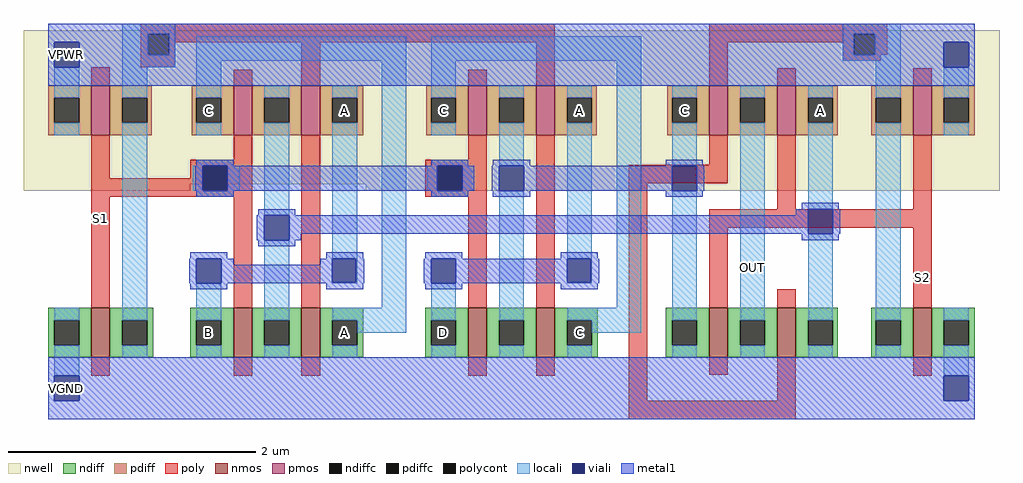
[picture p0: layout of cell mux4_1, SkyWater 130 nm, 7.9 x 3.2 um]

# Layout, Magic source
magic
tech sky130A
<< nwell >>
rect -15 190 775 315
rect -15 185 120 190
rect 262 185 775 190
<< nmos >>
rect 40 50 55 90
rect 155 50 170 90
rect 210 50 225 90
rect 345 50 360 90
rect 400 50 415 90
rect 540 50 555 90
rect 595 50 610 90
rect 705 50 720 90
<< pmos >>
rect 40 230 55 270
rect 155 230 170 270
rect 210 230 225 270
rect 345 230 360 270
rect 400 230 415 270
rect 540 230 555 270
rect 595 230 610 270
rect 705 230 720 270
<< ndiff >>
rect 5 80 40 90
rect 5 60 10 80
rect 30 60 40 80
rect 5 50 40 60
rect 55 80 90 90
rect 55 60 65 80
rect 85 60 90 80
rect 55 50 90 60
rect 120 80 155 90
rect 120 60 125 80
rect 145 60 155 80
rect 120 50 155 60
rect 170 80 210 90
rect 170 60 180 80
rect 200 60 210 80
rect 170 50 210 60
rect 225 80 260 90
rect 225 60 235 80
rect 255 60 260 80
rect 225 50 260 60
rect 310 80 345 90
rect 310 60 315 80
rect 335 60 345 80
rect 310 50 345 60
rect 360 80 400 90
rect 360 60 370 80
rect 390 60 400 80
rect 360 50 400 60
rect 415 80 450 90
rect 415 60 425 80
rect 445 60 450 80
rect 415 50 450 60
rect 505 80 540 90
rect 505 60 510 80
rect 530 60 540 80
rect 505 50 540 60
rect 555 80 595 90
rect 555 60 565 80
rect 585 60 595 80
rect 555 50 595 60
rect 610 80 644 90
rect 610 60 620 80
rect 640 60 644 80
rect 610 50 644 60
rect 671 80 705 90
rect 671 60 675 80
rect 695 60 705 80
rect 671 50 705 60
rect 720 80 755 90
rect 720 60 730 80
rect 750 60 755 80
rect 720 50 755 60
<< pdiff >>
rect 5 260 40 270
rect 5 240 10 260
rect 30 240 40 260
rect 5 230 40 240
rect 55 260 89 270
rect 55 240 65 260
rect 85 240 89 260
rect 55 230 89 240
rect 121 260 155 270
rect 121 240 125 260
rect 145 240 155 260
rect 121 230 155 240
rect 170 260 210 270
rect 170 240 180 260
rect 200 240 210 260
rect 170 230 210 240
rect 225 260 260 270
rect 225 240 235 260
rect 255 240 260 260
rect 225 230 260 240
rect 311 260 345 270
rect 311 240 315 260
rect 335 240 345 260
rect 311 230 345 240
rect 360 260 400 270
rect 360 240 370 260
rect 390 240 400 260
rect 360 230 400 240
rect 415 260 449 270
rect 415 240 425 260
rect 445 240 449 260
rect 415 230 449 240
rect 506 260 540 270
rect 506 240 510 260
rect 530 240 540 260
rect 506 230 540 240
rect 555 260 595 270
rect 555 240 565 260
rect 585 240 595 260
rect 555 230 595 240
rect 610 260 644 270
rect 610 240 620 260
rect 640 240 644 260
rect 610 230 644 240
rect 671 260 705 270
rect 671 240 675 260
rect 695 240 705 260
rect 671 230 705 240
rect 720 260 755 270
rect 720 240 730 260
rect 750 240 755 260
rect 720 230 755 240
<< ndiffc >>
rect 10 60 30 80
rect 65 60 85 80
rect 125 60 145 80
rect 180 60 200 80
rect 235 60 255 80
rect 315 60 335 80
rect 370 60 390 80
rect 425 60 445 80
rect 510 60 530 80
rect 565 60 585 80
rect 620 60 640 80
rect 675 60 695 80
rect 730 60 750 80
<< pdiffc >>
rect 10 240 30 260
rect 65 240 85 260
rect 125 240 145 260
rect 180 240 200 260
rect 235 240 255 260
rect 315 240 335 260
rect 370 240 390 260
rect 425 240 445 260
rect 510 240 530 260
rect 565 240 585 260
rect 620 240 640 260
rect 675 240 695 260
rect 730 240 750 260
<< poly >>
rect 80 312 415 320
rect 80 295 86 312
rect 103 305 415 312
rect 103 295 108 305
rect 80 285 108 295
rect 40 270 55 285
rect 155 270 170 283
rect 210 270 225 305
rect 345 270 360 283
rect 400 270 415 305
rect 540 312 684 320
rect 540 305 657 312
rect 540 270 555 305
rect 648 295 657 305
rect 674 295 684 312
rect 648 290 679 295
rect 595 270 610 284
rect 705 270 720 284
rect 40 195 55 230
rect 155 210 170 230
rect 120 205 170 210
rect 120 195 130 205
rect 40 185 130 195
rect 150 185 170 205
rect 40 180 170 185
rect 40 90 55 180
rect 155 90 170 180
rect 210 90 225 230
rect 345 210 360 230
rect 310 205 360 210
rect 310 185 320 205
rect 340 185 360 205
rect 310 180 360 185
rect 345 90 360 180
rect 400 90 415 230
rect 540 206 555 230
rect 475 191 555 206
rect 40 35 55 50
rect 155 35 170 50
rect 210 35 225 50
rect 345 35 360 50
rect 400 35 415 50
rect 475 15 490 191
rect 595 170 610 230
rect 705 170 720 230
rect 540 155 720 170
rect 540 90 555 155
rect 595 90 610 105
rect 705 90 720 155
rect 540 36 555 50
rect 595 15 610 50
rect 705 35 720 50
rect 475 0 610 15
<< polycont >>
rect 86 295 103 312
rect 657 295 674 312
rect 130 185 150 205
rect 320 185 340 205
<< locali >>
rect 65 312 108 320
rect 10 260 30 285
rect 10 230 30 240
rect 65 295 86 312
rect 103 295 108 312
rect 648 312 695 320
rect 65 285 108 295
rect 125 290 295 310
rect 65 260 85 285
rect 10 80 30 90
rect 10 35 30 60
rect 65 80 85 240
rect 125 260 145 290
rect 125 230 145 240
rect 180 260 200 270
rect 125 205 155 210
rect 122 185 130 205
rect 150 185 160 205
rect 125 180 155 185
rect 180 165 200 240
rect 65 50 85 60
rect 125 80 145 110
rect 125 50 145 60
rect 180 80 200 145
rect 235 260 255 270
rect 235 130 255 240
rect 254 111 255 130
rect 235 110 255 111
rect 275 90 295 290
rect 315 290 485 310
rect 648 295 657 312
rect 674 295 695 312
rect 648 290 695 295
rect 315 260 335 290
rect 315 230 335 240
rect 370 260 390 270
rect 315 205 345 210
rect 370 205 390 240
rect 312 185 320 205
rect 340 185 350 205
rect 315 180 345 185
rect 180 50 200 60
rect 235 80 295 90
rect 255 70 295 80
rect 315 80 335 110
rect 235 50 255 60
rect 315 50 335 60
rect 370 80 390 185
rect 425 260 445 270
rect 425 130 445 240
rect 444 111 445 130
rect 425 110 445 111
rect 465 90 485 290
rect 370 50 390 60
rect 425 80 485 90
rect 445 70 485 80
rect 510 260 530 270
rect 510 205 530 240
rect 510 80 530 185
rect 425 50 445 60
rect 510 50 530 60
rect 565 260 585 270
rect 565 80 585 240
rect 565 50 585 60
rect 620 260 640 270
rect 620 170 640 240
rect 620 80 640 150
rect 620 50 640 60
rect 675 260 695 290
rect 675 80 695 240
rect 730 260 750 285
rect 730 230 750 240
rect 675 50 695 60
rect 730 80 750 90
rect 730 35 750 60
<< viali >>
rect 10 285 30 305
rect 130 185 150 205
rect 180 145 200 165
rect 125 110 145 130
rect 235 111 254 130
rect 320 185 340 205
rect 370 185 390 205
rect 315 110 335 130
rect 425 111 444 130
rect 510 185 530 205
rect 620 150 640 170
rect 730 285 750 305
rect 10 15 30 35
rect 730 15 750 35
<< metal1 >>
rect 5 305 755 320
rect 5 285 10 305
rect 30 285 730 305
rect 750 285 755 305
rect 5 270 755 285
rect 125 205 155 210
rect 315 205 345 210
rect 365 205 395 210
rect 505 205 535 210
rect 124 185 130 205
rect 150 185 320 205
rect 340 185 350 205
rect 364 185 370 205
rect 390 185 510 205
rect 530 185 536 205
rect 125 180 155 185
rect 315 180 345 185
rect 365 180 395 185
rect 505 180 535 185
rect 615 170 645 175
rect 175 165 205 170
rect 610 165 620 170
rect 174 145 180 165
rect 200 150 620 165
rect 640 150 646 170
rect 200 145 210 150
rect 615 145 645 150
rect 175 140 205 145
rect 120 130 150 135
rect 230 130 260 135
rect 310 130 340 135
rect 420 130 450 135
rect 119 110 125 130
rect 145 125 155 130
rect 225 125 235 130
rect 145 111 235 125
rect 254 111 261 130
rect 145 110 261 111
rect 309 110 315 130
rect 335 111 425 130
rect 444 111 451 130
rect 335 110 451 111
rect 120 105 150 110
rect 230 105 260 110
rect 310 105 340 110
rect 420 105 450 110
rect 5 35 755 50
rect 5 15 10 35
rect 30 15 730 35
rect 750 15 755 35
rect 5 0 755 15
<< labels >>
rlabel poly 40 145 55 180 1 S1
rlabel pdiffc 125 240 145 260 1 C
rlabel pdiffc 235 240 255 260 1 A
rlabel pdiffc 315 240 335 260 1 C
rlabel pdiffc 425 240 445 260 1 A
rlabel pdiffc 620 240 640 260 1 A
rlabel pdiffc 510 240 530 260 1 C
rlabel viali 12 18 27 32 1 VGND
rlabel viali 12 288 28 303 1 VPWR
rlabel poly 705 105 720 125 1 S2
rlabel locali 565 115 585 130 1 OUT
rlabel ndiffc 315 60 335 80 1 D
rlabel ndiffc 425 60 445 80 1 C
rlabel ndiffc 235 60 255 80 1 A
rlabel ndiffc 125 60 145 80 1 B
<< end >>
